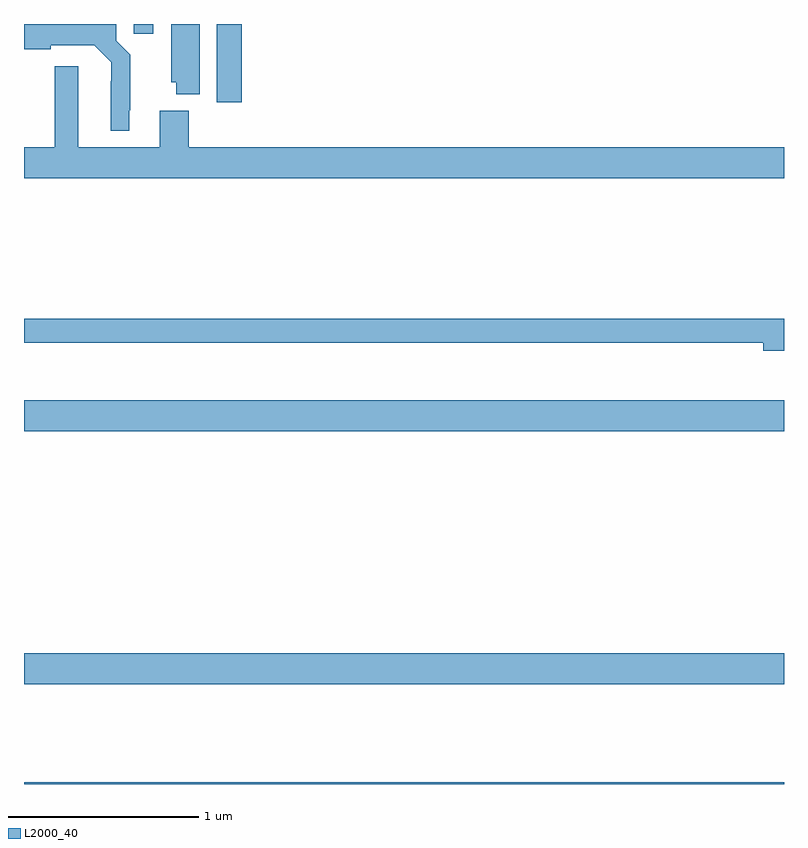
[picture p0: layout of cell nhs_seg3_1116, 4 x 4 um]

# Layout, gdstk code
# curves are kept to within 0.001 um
import gdstk
lib = gdstk.Library(unit=1e-6, precision=1e-09)
def R(c, l, rs):  # rectangles x0, y0, x1, y1
    for r in rs: c.add(gdstk.rectangle(r[:2], r[2:], *l))
def P(c, l, *ps):  # polygons
    for p in ps: c.add(gdstk.Polygon(p, *l))
L2000_40 = (2000, 40)

nhs_seg3_1116 = lib.new_cell('nhs_seg3_1116')
R(nhs_seg3_1116, L2000_40, [(169,692.4,173,692.408), (169,692.924,173,693.088), (169,694.256,173,694.42), (170.015,695.988,170.147,696.4), (169.577,696.348,169.681,696.4)])
P(nhs_seg3_1116, L2000_40, [(169.555,695.947),(169.559,695.947),(169.559,696.238),(169.485,696.312),(169.485,696.4),(169,696.4),(169,696.268),(169.14,696.268),(169.14,696.287),(169.371,696.287),(169.458,696.2),(169.457,695.837),(169.555,695.837)],
  [(169.924,696.4),(169.775,696.4),(169.775,696.093),(169.802,696.093),(169.802,696.029),(169.924,696.029)],
  [(173,695.752),(169.868,695.752),(169.868,695.944),(169.715,695.944),(169.715,695.752),(169.285,695.752),(169.285,696.178),(169.163,696.178),(169.163,695.752),(169,695.752),(169,695.588),(173,695.588)],
  [(173,694.85),(169,694.85),(169,694.722),(172.892,694.722),(172.892,694.679),(173,694.679)])

lib.write_gds('nhs_seg3_1116.gds')
